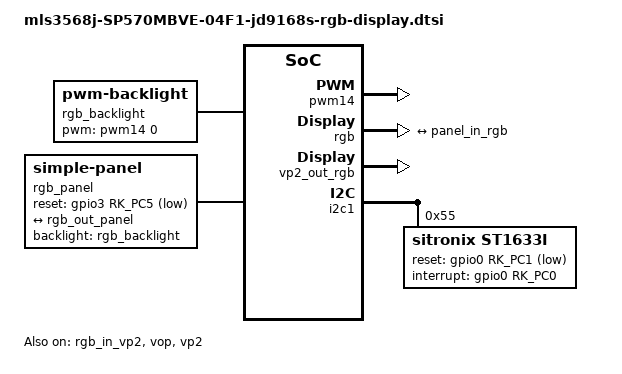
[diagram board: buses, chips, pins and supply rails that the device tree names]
// SPDX-License-Identifier: (GPL-2.0+ OR MIT)
/*
 * Copyright (c) 2025 Rockchip Electronics Co., Ltd.
 * Copyright (c) 2025 Radxa Computer (Shenzhen) Co., Ltd.
 *
 */

#include <dt-bindings/interrupt-controller/irq.h>
#include <dt-bindings/gpio/gpio.h>
#include <dt-bindings/pinctrl/rockchip.h>
#include <dt-bindings/pwm/pwm.h>
#include <dt-bindings/clock/rk3568-cru.h>
#include <dt-bindings/display/media-bus-format.h>

&{/} {
	rgb_backlight: rgb-backlight {
		status = "okay";
		compatible = "pwm-backlight";
		pwms = <&pwm14 0 25000 PWM_POLARITY_INVERTED>;
		brightness-levels = <
			0  20  20  21  21  22  22  23
			23  24  24  25  25  26  26  27
			27  28  28  29  29  30  30  31
			31  32  32  33  33  34  34  35
			35  36  36  37  37  38  38  39
			40  41  42  43  44  45  46  47
			48  49  50  51  52  53  54  55
			56  57  58  59  60  61  62  63
			64  65  66  67  68  69  70  71
			72  73  74  75  76  77  78  79
			80  81  82  83  84  85  86  87
			88  89  90  91  92  93  94  95
			96  97  98  99 100 101 102 103
			104 105 106 107 108 109 110 111
			112 113 114 115 116 117 118 119
			120 121 122 123 124 125 126 127
			128 129 130 131 132 133 134 135
			136 137 138 139 140 141 142 143
			144 145 146 147 148 149 150 151
			152 153 154 155 156 157 158 159
			160 161 162 163 164 165 166 167
			168 169 170 171 172 173 174 175
			176 177 178 179 180 181 182 183
			184 185 186 187 188 189 190 191
			192 193 194 195 196 197 198 199
			200 201 202 203 204 205 206 207
			208 209 210 211 212 213 214 215
			216 217 218 219 220 221 222 223
			224 225 226 227 228 229 230 231
			232 233 234 235 236 237 238 239
			240 241 242 243 244 245 246 247
			248 249 250 251 252 253 254 255
		>;
		default-brightness-level = <200>;
	};

	rgb_panel: rgb-panel {
		status = "okay";
		compatible = "simple-panel";
		bus-format = <MEDIA_BUS_FMT_RGB888_1X24>;
		backlight = <&rgb_backlight>;
		reset-gpios = <&gpio3 RK_PC5 GPIO_ACTIVE_LOW>;
		reset-delay-ms = <15>;
		
		width-mm = <115>;
		height-mm = <86>;

		display-timings {
			native-mode = <&timing0>;

			timing0: timing0 {
				clock-frequency = <20900000>;
				hactive = <640>;
				vactive = <480>;
				hback-porch = <20>;
				hfront-porch = <20>;
				vback-porch = <4>;
				vfront-porch = <10>;
				hsync-len = <10>;
				vsync-len = <4>;
				hsync-active = <1>;
				vsync-active = <1>;
				de-active = <1>;
				pixelclk-active = <0>;
			};
		};

		port {
			panel_in_rgb: endpoint {
				remote-endpoint = <&rgb_out_panel>;
			};
		};
	};
};

&pwm14 {
	status = "okay";
};

&rgb {
	status = "okay";

	ports {  
		port@1 {
			reg = <1>;

			rgb_out_panel: endpoint@1 {
				remote-endpoint = <&panel_in_rgb>;
			};
		};
	};
};

&rgb_in_vp2 {
    status = "okay";
};

&vop {
	status = "okay";
};

&vp2 {
	status = "okay";
};

&vp2_out_rgb {
	status = "okay";
};

&route_rgb {
	status = "disabled";
};

&i2c1 {
	status = "okay";
	pinctrl-names = "default";
	pinctrl-0 = <&i2c1_xfer>;
	#address-cells = <1>;
	#size-cells = <0>;

	st1633i: st1633i@55 {
		compatible = "sitronix,st1633i";
		reg = <0x55>;
		pinctrl-names = "default";
		pinctrl-0 = <&st1633i_gpio>;
		sitronix,reset-gpios = <&gpio0 RK_PC1 GPIO_ACTIVE_LOW>;
		sitronix,interrupt-gpios = <&gpio0 RK_PC0 GPIO_ACTIVE_HIGH>;
		sitronix,button-map= <158 172 139>;
	};
};

&pinctrl {
	gt9xx {
		st1633i_gpio: st1633i-gpio {
			rockchip,pins =
				<0 RK_PC1 RK_FUNC_GPIO &pcfg_pull_none>,
				<0 RK_PC0 RK_FUNC_GPIO &pcfg_pull_up>;
		};
	};
};
